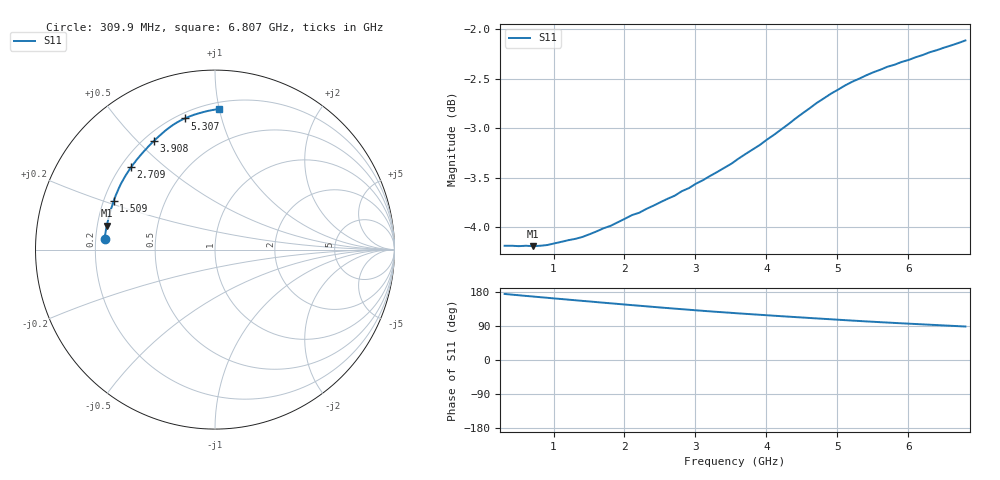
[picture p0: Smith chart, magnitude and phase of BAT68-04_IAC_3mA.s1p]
! Infineon Technologies  Discrete & RF Semiconductors
! BAT68-04
! IAC = 3 mA
! One-Port S-Parameters
# Hz  S  MA  R  50
!f  S11
!Hz  Mag  Ang
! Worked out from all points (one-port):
!   66 points, 309.9 MHz to 6.807 GHz, reference 50 ohm
!   lowest |S11| = -4.2 dB at 709.6 MHz (marker M1), VSWR 4.23, Z = 12 + j5.17 ohm
!   |S11| at or under -10 dB: nowhere
!   S11 on the Smith chart (normalised r, x): 309.9 MHz: 0.24, +0.05; 1.509 GHz: 0.24, +0.21; 2.709 GHz: 0.24, +0.39; 3.908 GHz: 0.24, +0.56; 5.307 GHz: 0.23, +0.77; 6.807 GHz: 0.25, +1.00
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3.0985e8  0.6176 174.3
6.097e8  0.6176 169.1
7.0965e8  0.6173 167.5
1.0095e9  0.6192 162.5
1.2094e9  0.6216 159.2
1.50925e9  0.6259 154.4
1.70915e9  0.6303 151.1
2.009e9  0.6374 146.3
2.4088e9  0.647 140.1
2.50875e9  0.6497 138.5
2.70865e9  0.6546 135.5
2.8086e9  0.658 134.1
3.0085e9  0.6638 131.1
3.2084e9  0.6698 128.3
3.6082e9  0.6834 123.0
3.90805e9  0.6943 119.3
4.2079e9  0.7069 115.6
4.4078e9  0.7158 113.3
4.70765e9  0.7289 109.8
4.8076e9  0.7328 108.6
5.10745e9  0.7439 105.2
5.2074e9  0.7471 104.1
5.30735e9  0.7498 103.0
5.6072e9  0.7577 99.8
5.70715e9  0.7603 98.8
6.007e9  0.7664 95.9
6.30685e9  0.7733 93.0
6.8066e9  0.7839 88.4
